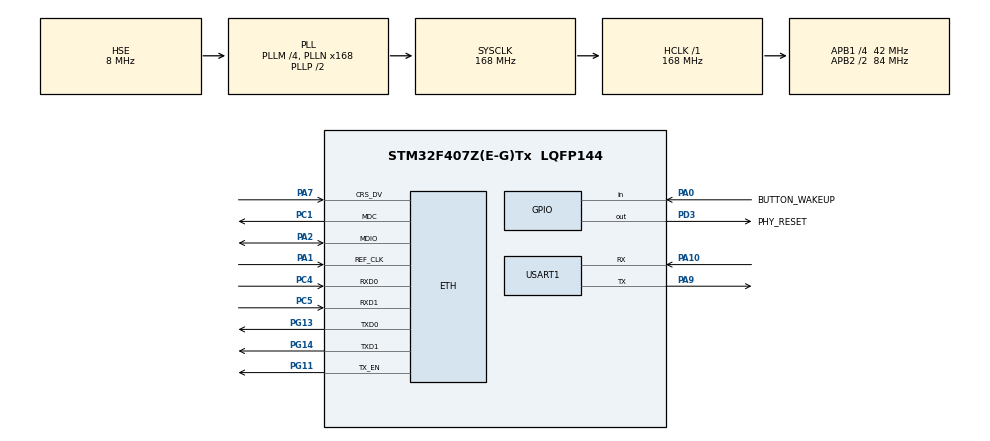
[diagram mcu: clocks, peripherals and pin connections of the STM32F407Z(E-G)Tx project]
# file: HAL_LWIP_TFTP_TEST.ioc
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ETH.MediaInterface=ETH_MEDIA_INTERFACE_RMII
ETH.PHY_Name_RMII=userPHY
ETH.PHY_User_Name=LAN8720A
ETH.PhyAddress=0
LWIP.GATEWAY_ADDRESS=192.168.001.001
LWIP.IP_ADDRESS=192.168.001.120
LWIP.LWIP_DBG_MIN_LEVEL=LWIP_DBG_LEVEL_ALL
LWIP.LWIP_DHCP=0
LWIP.LWIP_TFTP=1
LWIP.NETMASK_ADDRESS=255.255.255.000
LWIP.SYS_DEBUG=LWIP_DBG_OFF
LWIP.TCP_DEBUG=LWIP_DBG_OFF
LWIP.TCP_INPUT_DEBUG=LWIP_DBG_OFF
LWIP.TCP_OUTPUT_DEBUG=LWIP_DBG_ON
LWIP.Version=v2.0.3_Cube
Mcu.Family=STM32F4
Mcu.Name=STM32F407Z(E-G)Tx
Mcu.Package=LQFP144
NVIC.PriorityGroup=NVIC_PRIORITYGROUP_4
PA0-WKUP.GPIO_Label=BUTTON_WAKEUP
PA0-WKUP.Signal=GPIO_Input
PA1.Mode=RMII
PA1.Signal=ETH_REF_CLK
PA10.Mode=Asynchronous
PA10.Signal=USART1_RX
PA13.Mode=Serial_Wire
PA13.Signal=SYS_JTMS-SWDIO
PA14.Mode=Serial_Wire
PA14.Signal=SYS_JTCK-SWCLK
PA2.Mode=RMII
PA2.Signal=ETH_MDIO
PA7.Mode=RMII
PA7.Signal=ETH_CRS_DV
PA9.Mode=Asynchronous
PA9.Signal=USART1_TX
PC1.Mode=RMII
PC1.Signal=ETH_MDC
PC14-OSC32_IN.Mode=LSE-External-Oscillator
PC14-OSC32_IN.Signal=RCC_OSC32_IN
PC15-OSC32_OUT.Mode=LSE-External-Oscillator
PC15-OSC32_OUT.Signal=RCC_OSC32_OUT
PC4.Mode=RMII
PC4.Signal=ETH_RXD0
PC5.Mode=RMII
PC5.Signal=ETH_RXD1
PD3.GPIO_Label=PHY_RESET
PD3.GPIO_Speed=GPIO_SPEED_FREQ_VERY_HIGH
PD3.PinState=GPIO_PIN_SET
PD3.Signal=GPIO_Output
PG11.Mode=RMII
PG11.Signal=ETH_TX_EN
PG13.Mode=RMII
PG13.Signal=ETH_TXD0
PG14.Mode=RMII
PG14.Signal=ETH_TXD1
PH0-OSC_IN.Mode=HSE-External-Oscillator
PH0-OSC_IN.Signal=RCC_OSC_IN
PH1-OSC_OUT.Mode=HSE-External-Oscillator
PH1-OSC_OUT.Signal=RCC_OSC_OUT
ProjectManager.HeapSize=0x200
ProjectManager.StackSize=0x400
ProjectManager.TargetToolchain=MDK-ARM V5
RCC.48MHZClocksFreq_Value=84000000
RCC.AHBFreq_Value=168000000
RCC.APB1CLKDivider=RCC_HCLK_DIV4
RCC.APB1Freq_Value=42000000
RCC.APB1TimFreq_Value=84000000
RCC.APB2CLKDivider=RCC_HCLK_DIV2
RCC.APB2Freq_Value=84000000
RCC.APB2TimFreq_Value=168000000
RCC.CortexFreq_Value=168000000
RCC.HCLKFreq_Value=168000000
RCC.HSE_VALUE=8000000
RCC.HSI_VALUE=16000000
RCC.PLLM=4
RCC.PLLN=168
RCC.PLLSourceVirtual=RCC_PLLSOURCE_HSE
RCC.SYSCLKFreq_VALUE=168000000
RCC.SYSCLKSource=RCC_SYSCLKSOURCE_PLLCLK
RCC.VCOOutputFreq_Value=336000000
USART1.VirtualMode=VM_ASYNC
VP_LWIP_VS_Enabled.Mode=Enabled
board=HAL_LWIP_TFTP_TEST

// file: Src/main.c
/**
  ******************************************************************************
  * @file           : main.c
  * @brief          : Main program body
  ******************************************************************************
  * This notice applies to any and all portions of this file
  * that are not between comment pairs USER CODE BEGIN and
  * USER CODE END. Other portions of this file, whether
  * inserted by the user or by software development tools
  * are owned by their respective copyright owners.
  *
  * Copyright (c) 2018 STMicroelectronics International N.V.
  * All rights reserved.
  *
  * Redistribution and use in source and binary forms, with or without
  * modification, are permitted, provided that the following conditions are met:
  *
  * 1. Redistribution of source code must retain the above copyright notice,
  *    this list of conditions and the following disclaimer.
  * 2. Redistributions in binary form must reproduce the above copyright notice,
  *    this list of conditions and the following disclaimer in the documentation
  *    and/or other materials provided with the distribution.
  * 3. Neither the name of STMicroelectronics nor the names of other
  *    contributors to this software may be used to endorse or promote products
  *    derived from this software without specific written permission.
  * 4. This software, including modifications and/or derivative works of this
  *    software, must execute solely and exclusively on microcontroller or
  *    microprocessor devices manufactured by or for STMicroelectronics.
  * 5. Redistribution and use of this software other than as permitted under
  *    this license is void and will automatically terminate your rights under
  *    this license.
  *
  * THIS SOFTWARE IS PROVIDED BY STMICROELECTRONICS AND CONTRIBUTORS "AS IS"
  * AND ANY EXPRESS, IMPLIED OR STATUTORY WARRANTIES, INCLUDING, BUT NOT
  * LIMITED TO, THE IMPLIED WARRANTIES OF MERCHANTABILITY, FITNESS FOR A
  * PARTICULAR PURPOSE AND NON-INFRINGEMENT OF THIRD PARTY INTELLECTUAL PROPERTY
  * RIGHTS ARE DISCLAIMED TO THE FULLEST EXTENT PERMITTED BY LAW. IN NO EVENT
  * SHALL STMICROELECTRONICS OR CONTRIBUTORS BE LIABLE FOR ANY DIRECT, INDIRECT,
  * INCIDENTAL, SPECIAL, EXEMPLARY, OR CONSEQUENTIAL DAMAGES (INCLUDING, BUT NOT
  * LIMITED TO, PROCUREMENT OF SUBSTITUTE GOODS OR SERVICES; LOSS OF USE, DATA,
  * OR PROFITS; OR BUSINESS INTERRUPTION) HOWEVER CAUSED AND ON ANY THEORY OF
  * LIABILITY, WHETHER IN CONTRACT, STRICT LIABILITY, OR TORT (INCLUDING
  * NEGLIGENCE OR OTHERWISE) ARISING IN ANY WAY OUT OF THE USE OF THIS SOFTWARE,
  * EVEN IF ADVISED OF THE POSSIBILITY OF SUCH DAMAGE.
  *
  ******************************************************************************
  */
#include "main.h"
#include "stm32f4xx_hal.h"
#include "lwip.h"
#include "usart.h"
#include "gpio.h"

/* USER CODE BEGIN Includes */
#include "tcp_echoserver.h"
#include "mytftp_if.h"
/* USER CODE END Includes */

/* USER CODE BEGIN PV */
/* Private variables ---------------------------------------------------------*/
extern void  User_notification(void);
typedef  void (*pFunction)(void);
pFunction Jump_To_Application;
uint32_t JumpAddress;
/* USER CODE END PV */

void SystemClock_Config(void);

/* USER CODE BEGIN PFP */
/* Private function prototypes -----------------------------------------------*/

/* USER CODE END PFP */

int main(void)
{

  /* MCU Configuration----------------------------------------------------------*/

  /* Reset of all peripherals, Initializes the Flash interface and the Systick. */
  HAL_Init();

  /* Configure the system clock */
  SystemClock_Config();

  /* Initialize all configured peripherals */
  MX_GPIO_Init();
  MX_USART1_UART_Init();
  MX_LWIP_Init();
  /* USER CODE BEGIN 2 */
  /*
	设置BUTTON_WAKEUP按键KEY_UP，默认是低电平，按下为高电平
  */
   if (HAL_GPIO_ReadPin(BUTTON_WAKEUP_GPIO_Port,BUTTON_WAKEUP_Pin) == 0x00)
  { /* Key push-button not pressed: jump to user application */
	  /* 如果KEY_UP没有按下，则跳转至app */
    printf("您未按下升级按键KEY_UP!设备将尝试正常运行! \r\n");
	printf("- - - - 正在跳转 - - - - \r\n");
    /* Check if valid stack address (RAM address) then jump to user application */
	  /* 检查栈顶地址信息是否合法，合法则跳转至app */
    if (((*(__IO uint32_t*)USER_FLASH_FIRST_PAGE_ADDRESS) & 0x2FFE0000 ) == 0x20000000)
    {
	  printf("正常运行中! \r\n");
      /* Jump to user application */
      JumpAddress = *(__IO uint32_t*) (USER_FLASH_FIRST_PAGE_ADDRESS + 4);
      Jump_To_Application = (pFunction) JumpAddress;
      /* Initialize user application's Stack Pointer */
      __set_MSP(*(__IO uint32_t*) USER_FLASH_FIRST_PAGE_ADDRESS);
      Jump_To_Application();
      /* do nothing */
      while(1);
    }
	//如果flash栈信息中没有app代码，则打印反馈信息
	  else
	{
		printf("FLASH中没有app程序! \r\n");
		while(1);
	}
  }
  /*进入IAP模式*/
  else
  {
  printf(" \r\n - - - - 您已进入升级模式! - - - - \r\n");
  printf("Start \r\n");
  //初始化TCP 服务器
  tcp_echoserver_init();
  //初始化TFTP服务器
//  if(tftp_init_server(&tftpContext)==ERR_OK)
//  {
//    printf("TFTP初始化成功 \r\n");
//  }

  //初始化TFTP客户端
  tftp_example_init_client();

  //串口输出IP地址
  User_notification();
  /* USER CODE END 2 */

  /* Infinite loop */
  while (1)
  {

  /* USER CODE BEGIN 3 */
    MX_LWIP_Process();
  }
  }
  /* USER CODE END 3 */

}

void SystemClock_Config(void)
{

  RCC_OscInitTypeDef RCC_OscInitStruct;
  RCC_ClkInitTypeDef RCC_ClkInitStruct;

    /**Configure the main internal regulator output voltage
    */
  __HAL_RCC_PWR_CLK_ENABLE();

  __HAL_PWR_VOLTAGESCALING_CONFIG(PWR_REGULATOR_VOLTAGE_SCALE1);

    /**Initializes the CPU, AHB and APB busses clocks
    */
  RCC_OscInitStruct.OscillatorType = RCC_OSCILLATORTYPE_HSE;
  RCC_OscInitStruct.HSEState = RCC_HSE_ON;
  RCC_OscInitStruct.PLL.PLLState = RCC_PLL_ON;
  RCC_OscInitStruct.PLL.PLLSource = RCC_PLLSOURCE_HSE;
  RCC_OscInitStruct.PLL.PLLM = 4;
  RCC_OscInitStruct.PLL.PLLN = 168;
  RCC_OscInitStruct.PLL.PLLP = RCC_PLLP_DIV2;
  RCC_OscInitStruct.PLL.PLLQ = 4;
  if (HAL_RCC_OscConfig(&RCC_OscInitStruct) != HAL_OK)
  {
    _Error_Handler(__FILE__, __LINE__);
  }

    /**Initializes the CPU, AHB and APB busses clocks
    */
  RCC_ClkInitStruct.ClockType = RCC_CLOCKTYPE_HCLK|RCC_CLOCKTYPE_SYSCLK
                              |RCC_CLOCKTYPE_PCLK1|RCC_CLOCKTYPE_PCLK2;
  RCC_ClkInitStruct.SYSCLKSource = RCC_SYSCLKSOURCE_PLLCLK;
  RCC_ClkInitStruct.AHBCLKDivider = RCC_SYSCLK_DIV1;
  RCC_ClkInitStruct.APB1CLKDivider = RCC_HCLK_DIV4;
  RCC_ClkInitStruct.APB2CLKDivider = RCC_HCLK_DIV2;

  if (HAL_RCC_ClockConfig(&RCC_ClkInitStruct, FLASH_LATENCY_5) != HAL_OK)
  {
    _Error_Handler(__FILE__, __LINE__);
  }

    /**Configure the Systick interrupt time
    */
  HAL_SYSTICK_Config(HAL_RCC_GetHCLKFreq()/1000);

    /**Configure the Systick
    */
  HAL_SYSTICK_CLKSourceConfig(SYSTICK_CLKSOURCE_HCLK);

  /* SysTick_IRQn interrupt configuration */
  HAL_NVIC_SetPriority(SysTick_IRQn, 0, 0);
}

void _Error_Handler(char *file, int line)
{
  while(1)
  {
  }
}

/************************ (C) COPYRIGHT STMicroelectronics *****END OF FILE****/
